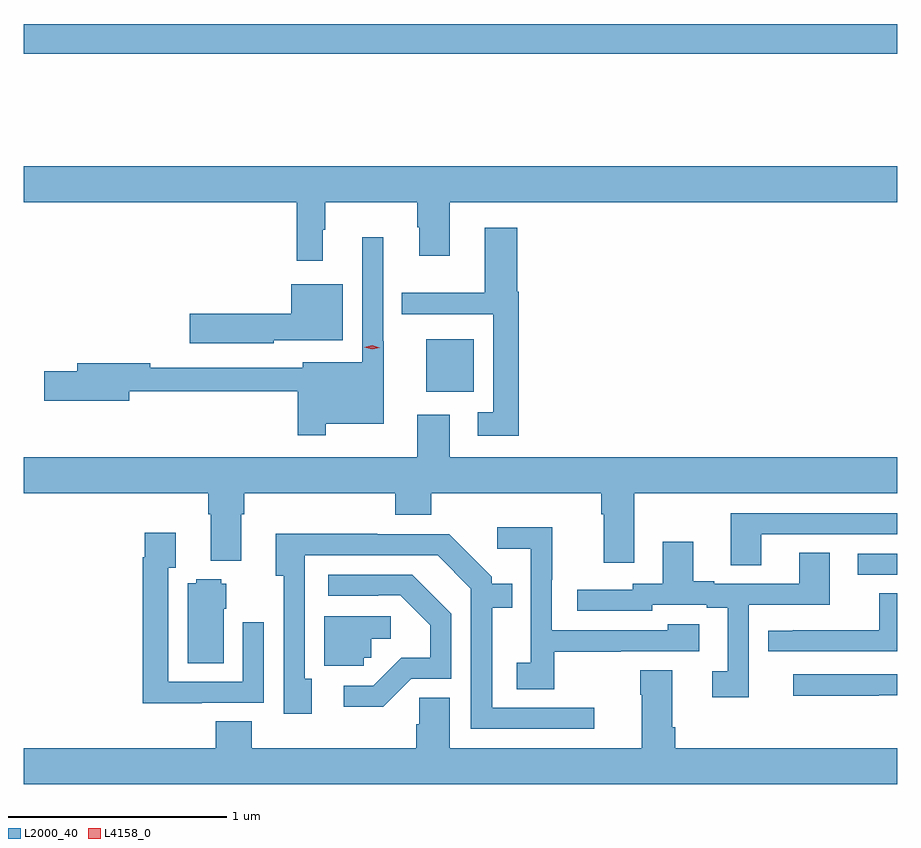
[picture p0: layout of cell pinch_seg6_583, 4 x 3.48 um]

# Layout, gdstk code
import gdstk
lib = gdstk.Library(unit=1e-6, precision=1e-09)
def R(c, l, rs):  # rectangles x0, y0, x1, y1
    for r in rs: c.add(gdstk.rectangle(r[:2], r[2:], *l))
def P(c, l, *ps):  # polygons
    for p in ps: c.add(gdstk.Polygon(p, *l))
L2000_40 = (2000, 40)
L4158_0 = (4158, 0)

pinch_seg6_583 = lib.new_cell('pinch_seg6_583')
R(pinch_seg6_583, L2000_40, [(434.571,964.278,434.753,964.374), (432.596,965.117,432.814,965.356), (430.753,966.664,434.753,966.8)])
P(pinch_seg6_583, L2000_40, [(432.122,965.858),(432.133,965.858),(432.133,965.984),(432.556,965.984),(432.556,965.87),(432.563,965.87),(432.563,965.739),(432.703,965.739),(432.703,965.984),(434.753,965.984),(434.753,966.148),(430.753,966.148),(430.753,965.984),(432.004,965.984),(432.004,965.715),(432.122,965.715)],
  [(433.019,965.575),(433.013,965.575),(433.013,965.866),(432.863,965.866),(432.863,965.569),(432.484,965.569),(432.484,965.472),(432.903,965.472),(432.903,965.023),(432.831,965.023),(432.831,964.914),(433.019,964.914)],
  [(432.136,964.97),(432.401,964.97),(432.401,965.347),(432.399,965.347),(432.399,965.824),(432.303,965.824),(432.303,965.251),(432.03,965.251),(432.03,965.226),(431.332,965.226),(431.332,965.246),(430.997,965.246),(430.997,965.21),(430.848,965.21),(430.848,965.075),(431.236,965.075),(431.236,965.118),(432.007,965.118),(432.007,964.917),(432.136,964.917)],
  [(431.898,965.351),(432.214,965.351),(432.214,965.608),(431.978,965.608),(431.978,965.474),(431.514,965.474),(431.514,965.339),(431.898,965.339)],
  [(433.549,964.652),(434.753,964.652),(434.753,964.816),(432.703,964.816),(432.703,965.011),(432.554,965.011),(432.554,964.816),(430.753,964.816),(430.753,964.652),(431.597,964.652),(431.597,964.556),(431.609,964.556),(431.609,964.343),(431.749,964.343),(431.749,964.556),(431.762,964.556),(431.762,964.652),(432.455,964.652),(432.455,964.553),(432.62,964.553),(432.62,964.652),(433.397,964.652),(433.397,964.556),(433.409,964.556),(433.409,964.332),(433.549,964.332)],
  [(434.131,964.464),(434.753,964.464),(434.753,964.56),(433.991,964.56),(433.991,964.321),(434.131,964.321)],
  [(433.183,963.925),(433.487,963.925),(433.487,963.927),(433.846,963.927),(433.846,964.051),(433.701,964.051),(433.701,964.023),(433.17,964.023),(433.17,964.256),(433.173,964.256),(433.173,964.495),(432.921,964.495),(432.921,964.397),(433.074,964.397),(433.074,963.876),(433.011,963.876),(433.011,963.754),(433.183,963.754)],
  [(431.569,963.693),(431.853,963.693),(431.853,964.06),(431.757,964.06),(431.757,963.789),(431.415,963.789),(431.415,964.31),(431.449,964.31),(431.449,964.471),(431.307,964.471),(431.307,964.358),(431.299,964.358),(431.299,963.689),(431.569,963.689)],
  [(433.366,963.669),(432.898,963.669),(432.898,964.128),(432.989,964.128),(432.989,964.237),(432.897,964.237),(432.897,964.269),(432.702,964.464),(432.371,964.464),(432.371,964.466),(431.906,964.466),(431.906,964.274),(431.943,964.274),(431.943,963.642),(432.073,963.642),(432.073,963.802),(432.039,963.802),(432.039,964.368),(432.648,964.368),(432.801,964.215),(432.801,963.573),(433.366,963.573)],
  [(434.073,964.14),(434.443,964.14),(434.443,964.379),(434.303,964.379),(434.303,964.236),(433.915,964.236),(433.915,964.249),(433.819,964.249),(433.819,964.429),(433.679,964.429),(433.679,964.236),(433.542,964.236),(433.542,964.209),(433.287,964.209),(433.287,964.113),(433.632,964.113),(433.632,964.14),(433.88,964.14),(433.88,964.128),(433.976,964.128),(433.976,963.837),(433.905,963.837),(433.905,963.717),(434.073,963.717)],
  [(432.528,963.801),(432.711,963.801),(432.711,964.099),(432.532,964.278),(432.147,964.278),(432.147,964.182),(432.377,964.182),(432.377,964.185),(432.477,964.185),(432.614,964.048),(432.614,963.898),(432.481,963.898),(432.354,963.771),(432.219,963.771),(432.219,963.674),(432.4,963.674)],
  [(431.668,964.122),(431.68,964.122),(431.68,964.236),(431.658,964.236),(431.658,964.258),(431.544,964.258),(431.544,964.24),(431.504,964.24),(431.504,963.874),(431.668,963.874)],
  [(434.753,964.193),(434.671,964.193),(434.671,964.023),(434.275,964.023),(434.275,964.022),(434.163,964.022),(434.163,963.927),(434.753,963.927)],
  [(432.309,963.897),(432.345,963.897),(432.345,963.986),(432.433,963.986),(432.433,964.089),(432.128,964.089),(432.128,963.861),(432.309,963.861)],
  [(434.753,963.484),(433.736,963.484),(433.736,963.58),(433.723,963.58),(433.723,963.841),(433.576,963.841),(433.576,963.728),(433.583,963.728),(433.583,963.484),(432.703,963.484),(432.703,963.716),(432.565,963.716),(432.565,963.594),(432.551,963.594),(432.551,963.484),(431.798,963.484),(431.798,963.608),(431.633,963.608),(431.633,963.484),(430.753,963.484),(430.753,963.32),(434.753,963.32)],
  [(434.669,963.726),(434.753,963.726),(434.753,963.822),(434.277,963.822),(434.277,963.724),(434.669,963.724)])
P(pinch_seg6_583, L4158_0, [(432.348,965.31),(432.313,965.321),(432.313,965.321),(432.313,965.321),(432.349,965.33),(432.384,965.318),(432.384,965.318),(432.384,965.318)])

lib.write_gds('pinch_seg6_583.gds')
